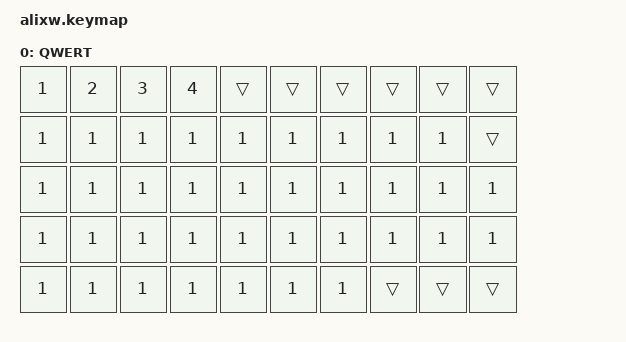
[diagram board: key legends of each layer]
#include <behaviors.dtsi>
#include <dt-bindings/zmk/keys.h>
#include <dt-bindings/zmk/bt.h>

#define COLEMAK 0
#define QWERT 1
#define FN 2
#define APP 3
#define CONF 4

/ {
    behaviors {
        tap_hold_layer: tap_hold_layer {
            compatible = "zmk,behavior-hold-tap";
            label = "TAP_HOLD_LAYER";
            #binding-cells = <2>;
            tapping-term-ms = <200>;
            quick-tap-ms = <200>;
            flavor = "balanced";
            bindings = <&mo>, <&kp>;
        };

        tap_meh: tap_meh {
            compatible = "zmk,behavior-hold-tap";
            label = "TAP_MEH";
            #binding-cells = <2>;
            tapping-term-ms = <200>;
            quick-tap-ms = <200>;
            flavor = "balanced";
            bindings = <&meh>, <&kp>;
        };

        tap_hyper: tap_hyper {
            compatible = "zmk,behavior-hold-tap";
            label = "TAP_HYPER";
            #binding-cells = <2>;
            tapping-term-ms = <200>;
            quick-tap-ms = <200>;
            flavor = "balanced";
            bindings = <&hyper>, <&kp>;
        };
    };

    macros {
        meh: meh {
            compatible = "zmk,behavior-macro";
            #binding-cells = <0>;
            bindings
                = <&macro_press &kp LSHFT &kp LCTRL &kp LALT>
                , <&macro_pause_for_release>
                , <&macro_release &kp LSHFT &kp LCTRL &kp LALT>
                ;
        };

        hyper: hyper {
            compatible = "zmk,behavior-macro";
            #binding-cells = <0>;
            bindings
                = <&macro_press &kp LSHFT &kp LCTRL &kp LALT &kp LGUI>
                , <&macro_pause_for_release>
                , <&macro_release &kp LSHFT &kp LCTRL &kp LALT &kp LGUI>
                ;
        };

        mac_alt_left: mac_alt_left {
            compatible = "zmk,behavior-macro";
            #binding-cells = <0>;
            bindings
                = <&macro_press &kp LALT>
                , <&macro_tap &kp LEFT>
                , <&macro_release &kp LALT>
                ;
        };

        mac_alt_right: mac_alt_right {
            compatible = "zmk,behavior-macro";
            #binding-cells = <0>;
            bindings
                = <&macro_press &kp LALT>
                , <&macro_tap &kp RIGHT>
                , <&macro_release &kp LALT>
                ;
        };

        mac_cmd_left: mac_cmd_left {
            compatible = "zmk,behavior-macro";
            #binding-cells = <0>;
            bindings
                = <&macro_press &kp LGUI>
                , <&macro_tap &kp LEFT>
                , <&macro_release &kp LGUI>
                ;
        };
        mac_cmd_right: mac_cmd_right {
            compatible = "zmk,behavior-macro";
            #binding-cells = <0>;
            bindings
                = <&macro_press &kp LGUI>
                , <&macro_tap &kp RIGHT>
                , <&macro_release &kp LGUI>
                ;
        };
        mac_cmd_up: mac_cmd_up {
            compatible = "zmk,behavior-macro";
            #binding-cells = <0>;
            bindings
                = <&macro_press &kp LGUI>
                , <&macro_tap &kp UP>
                , <&macro_release &kp LGUI>
                ;
        };
        mac_cmd_down: mac_cmd_down {
            compatible = "zmk,behavior-macro";
            #binding-cells = <0>;
            bindings
                = <&macro_press &kp LGUI>
                , <&macro_tap &kp DOWN>
                , <&macro_release &kp LGUI>
                ;
        };
    };

    keymap {
        compatible = "zmk,keymap";

        default_layer { // qwert
            display-name = "QWERT";
            bindings = <
                &kp N1 &kp N2 &kp N3 &kp N4 &trans &trans &trans &trans &trans &trans
                &kp N1 &kp N1 &kp N1 &kp N1 &kp N1 &kp N1 &kp N1 &kp N1 &kp N1 &trans
                &kp N1 &kp N1 &kp N1 &kp N1 &kp N1 &kp N1 &kp N1 &kp N1 &kp N1 &kp N1
                &kp N1 &kp N1 &kp N1 &kp N1 &kp N1 &kp N1 &kp N1 &kp N1 &kp N1 &kp N1
                &kp N1 &kp N1 &kp N1 &kp N1 &kp N1 &kp N1 &kp N1 &trans &trans &trans
            >;
        };
    };
};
